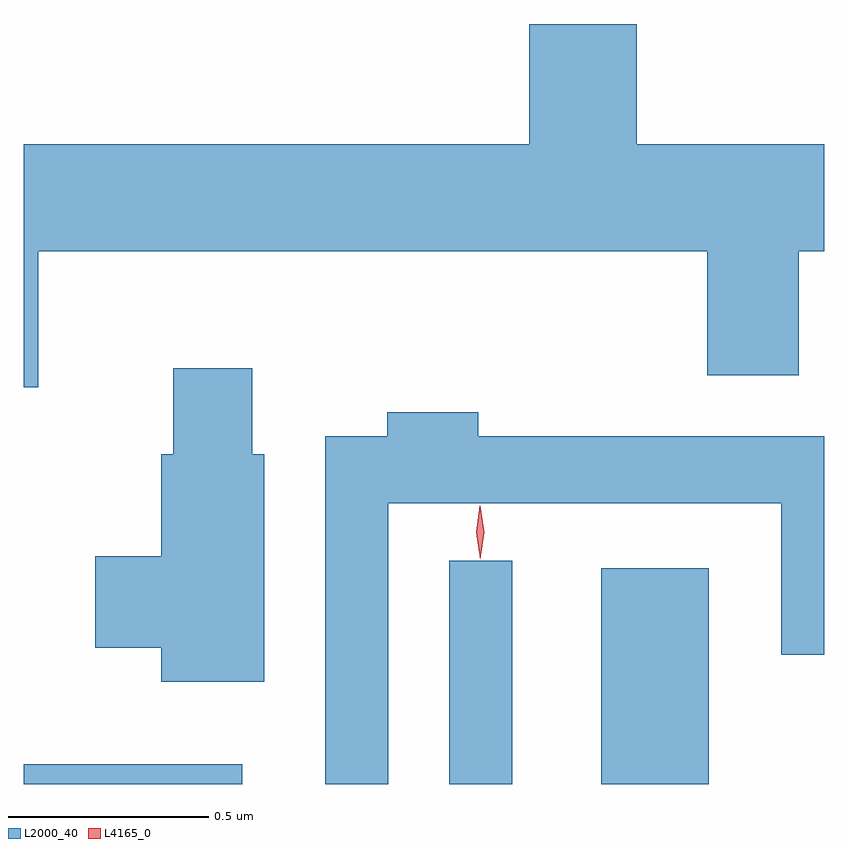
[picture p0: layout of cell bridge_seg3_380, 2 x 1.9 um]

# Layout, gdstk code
import gdstk
lib = gdstk.Library(unit=1e-6, precision=1e-09)
def R(c, l, rs):  # rectangles x0, y0, x1, y1
    for r in rs: c.add(gdstk.rectangle(r[:2], r[2:], *l))
def P(c, l, *ps):  # polygons
    for p in ps: c.add(gdstk.Polygon(p, *l))
L2000_40 = (2000, 40)
L4165_0 = (4165, 0)

bridge_seg3_380 = lib.new_cell('bridge_seg3_380')
R(bridge_seg3_380, L2000_40, [(693.333,1124.685,693.879,1124.734), (694.396,1124.685,694.554,1125.243), (694.776,1124.685,695.044,1125.224)])
P(bridge_seg3_380, L2000_40, [(693.369,1126.016),(695.041,1126.016),(695.041,1125.706),(695.269,1125.706),(695.269,1126.016),(695.333,1126.016),(695.333,1126.284),(694.864,1126.284),(694.864,1126.584),(694.596,1126.584),(694.596,1126.284),(693.333,1126.284),(693.333,1125.676),(693.369,1125.676)],
  [(693.934,1125.509),(693.904,1125.509),(693.904,1125.724),(693.706,1125.724),(693.706,1125.509),(693.676,1125.509),(693.676,1125.254),(693.511,1125.254),(693.511,1125.026),(693.676,1125.026),(693.676,1124.941),(693.934,1124.941)],
  [(694.244,1125.386),(695.226,1125.386),(695.226,1125.008),(695.333,1125.008),(695.333,1125.554),(694.469,1125.554),(694.469,1125.614),(694.241,1125.614),(694.241,1125.554),(694.086,1125.554),(694.086,1124.685),(694.244,1124.685)])
P(bridge_seg3_380, L4165_0, [(694.473,1125.247),(694.463,1125.314),(694.472,1125.38),(694.473,1125.38),(694.474,1125.38),(694.483,1125.314),(694.474,1125.247),(694.474,1125.247)])

lib.write_gds('bridge_seg3_380.gds')
